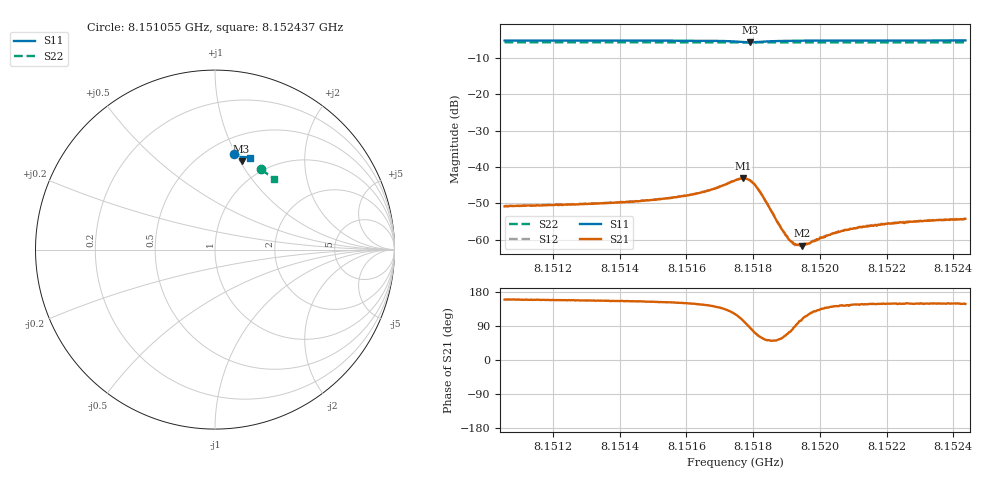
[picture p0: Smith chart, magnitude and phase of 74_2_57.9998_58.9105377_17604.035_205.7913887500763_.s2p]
#  HZ  S  RI  R  50.00
! Rohde & Schwarz Vector Network Analyzer
! Rohde-Schwarz,ZNB20-2Port,1311601062101988,3.16
! Created: UTC 3/21/2024, 12:53:37 AM
! freq[Hz]  re:S11  im:S11  re:S21  im:S21  re:S12  im:S12  re:S22  im:S22
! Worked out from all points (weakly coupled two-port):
!   401 points, 8.151055 GHz to 8.152437 GHz, reference 50 ohm
!   highest |S21| = -43.12 dB at 8.15177 GHz (marker M1); lowest = -61.6 dB at 8.151946 GHz (marker M2)
!   lowest |S11| = -5.8 dB at 8.151791 GHz (marker M3), VSWR 3.12, Z = 38 + j50.9 ohm
!   |S11| at or under -10 dB: nowhere
!   |S22| runs from -5.8 to -5.8 dB; largest |S21 - S12| = 0.00015
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8.1510548e9  0.1082 0.5321  -0.00269 0.00101  -0.00272 0.00107  0.2553 0.4464
8.1512862e9  0.1249 0.5286  -0.00284 0.0012  -0.00284 0.00124  0.268 0.4385
8.1514175e9  0.1348 0.5263  -0.00301 0.00135  -0.00299 0.00142  0.2752 0.4339
8.1515176e9  0.1428 0.5239  -0.0032 0.00166  -0.00325 0.00169  0.2807 0.4303
8.1516006e9  0.1503 0.521  -0.0035 0.00206  -0.00351 0.00209  0.2852 0.427
8.1516489e9  0.1552 0.518  -0.00375 0.00254  -0.00374 0.00259  0.2877 0.4253
8.1516904e9  0.1598 0.5138  -0.00393 0.0033  -0.00395 0.0034  0.2898 0.4235
8.1517456e9  0.163 0.5015  -0.00341 0.00559  -0.00334 0.00568  0.2926 0.4211
8.1517698e9  0.1579 0.494  -0.00171 0.00677  -0.00165 0.00683  0.2934 0.4201
8.1517905e9  0.1481 0.4924  0.00054 0.00653  0.000657 0.00655  0.2939 0.4193
8.1518044e9  0.1425 0.4961  0.00174 0.00547  0.00178 0.0055  0.2946 0.4191
8.1518216e9  0.1398 0.5028  0.0022 0.00388  0.0023 0.0039  0.2954 0.4188
8.1518769e9  0.1468 0.5153  0.000958 0.00133  0.000974 0.00134  0.2986 0.4172
8.1519045e9  0.1512 0.517  0.000362 0.000981  0.000381 0.00101  0.3002 0.416
8.1519253e9  0.1541 0.5175  2.73e-05 0.000877  4.85e-05 0.00084  0.3014 0.4152
8.1519391e9  0.1558 0.5178  -0.000188 0.000817  -0.000134 0.00083  0.3021 0.4148
8.151946e9  0.1566 0.5176  -0.000234 0.000799  -0.000222 0.000788  0.3025 0.4144
8.1519771e9  0.1602 0.5177  -0.000552 0.000779  -0.000526 0.000787  0.3042 0.4131
8.1520565e9  0.1678 0.5167  -0.00101 0.000788  -0.00104 0.000823  0.3082 0.4101
8.1521222e9  0.1733 0.5154  -0.00126 0.000818  -0.00124 0.000834  0.3116 0.4074
8.1522085e9  0.1799 0.5136  -0.00143 0.00087  -0.00142 0.000919  0.316 0.404
8.1524365e9  0.1962 0.5083  -0.00165 0.00103  -0.00167 0.00103  0.3271 0.3945
